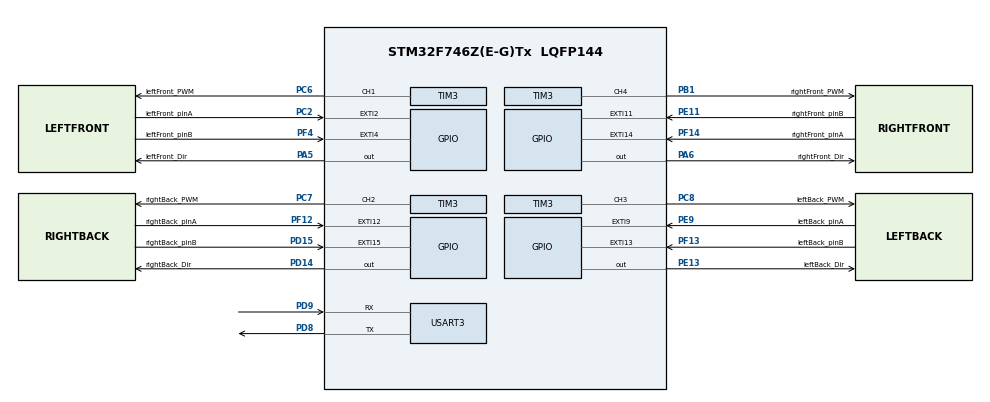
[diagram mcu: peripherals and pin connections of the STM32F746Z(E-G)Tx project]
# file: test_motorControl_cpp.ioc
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Mcu.Family=STM32F7
Mcu.Name=STM32F746Z(E-G)Tx
Mcu.Package=LQFP144
NVIC.EXTI15_10_IRQn=true\:0\:0\:false\:false\:true
NVIC.EXTI2_IRQn=true\:0\:0\:false\:false\:true
NVIC.EXTI4_IRQn=true\:0\:0\:false\:false\:true
NVIC.EXTI9_5_IRQn=true\:0\:0\:false\:false\:true
NVIC.PriorityGroup=NVIC_PRIORITYGROUP_4
PA5.GPIO_Label=leftFront_Dir
PA5.GPIO_Speed=GPIO_SPEED_FREQ_VERY_HIGH
PA5.Signal=GPIO_Output
PA6.GPIO_Label=rightFront_Dir
PA6.GPIO_Speed=GPIO_SPEED_FREQ_VERY_HIGH
PA6.Signal=GPIO_Output
PB1.GPIO_Label=rightFront_PWM
PB1.GPIO_Speed=GPIO_SPEED_FREQ_VERY_HIGH
PB1.Signal=S_TIM3_CH4
PC2.GPIO_Label=leftFront_pinA
PC2.GPIO_ModeDefaultEXTI=GPIO_MODE_IT_RISING
PC2.Signal=GPXTI2
PC6.GPIO_Label=leftFront_PWM
PC6.GPIO_Speed=GPIO_SPEED_FREQ_VERY_HIGH
PC6.Signal=S_TIM3_CH1
PC7.GPIO_Label=rightBack_PWM
PC7.GPIO_Speed=GPIO_SPEED_FREQ_VERY_HIGH
PC7.Signal=S_TIM3_CH2
PC8.GPIO_Label=leftBack_PWM
PC8.GPIO_Speed=GPIO_SPEED_FREQ_VERY_HIGH
PC8.Signal=S_TIM3_CH3
PD14.GPIO_Label=rightBack_Dir
PD14.GPIO_Speed=GPIO_SPEED_FREQ_VERY_HIGH
PD14.Signal=GPIO_Output
PD15.GPIO_Label=rightBack_pinB
PD15.Signal=GPXTI15
PD8.Mode=Asynchronous
PD8.Signal=USART3_TX
PD9.Mode=Asynchronous
PD9.Signal=USART3_RX
PE11.GPIO_Label=rightFront_pinB
PE11.Signal=GPXTI11
PE13.GPIO_Label=leftBack_Dir
PE13.GPIO_Speed=GPIO_SPEED_FREQ_VERY_HIGH
PE13.Signal=GPIO_Output
PE9.GPIO_Label=leftBack_pinA
PE9.Signal=GPXTI9
PF12.GPIO_Label=rightBack_pinA
PF12.Signal=GPXTI12
PF13.GPIO_Label=leftBack_pinB
PF13.Signal=GPXTI13
PF14.GPIO_Label=rightFront_pinA
PF14.Signal=GPXTI14
PF4.GPIO_Label=leftFront_pinB
PF4.Signal=GPXTI4
PH0/OSC_IN.Mode=HSE-External-Oscillator
PH0/OSC_IN.Signal=RCC_OSC_IN
PH1/OSC_OUT.Mode=HSE-External-Oscillator
PH1/OSC_OUT.Signal=RCC_OSC_OUT
ProjectManager.HeapSize=0x200
ProjectManager.StackSize=0x400
ProjectManager.TargetToolchain=SW4STM32
RCC.AHBFreq_Value=16000000
RCC.APB1Freq_Value=16000000
RCC.APB1TimFreq_Value=16000000
RCC.APB2Freq_Value=16000000
RCC.APB2TimFreq_Value=16000000
RCC.CortexFreq_Value=16000000
RCC.HCLKFreq_Value=16000000
RCC.HSE_VALUE=25000000
RCC.HSI_VALUE=16000000
RCC.LSE_VALUE=32768
RCC.USBFreq_Value=96000000
RCC.VCOOutputFreq_Value=192000000
SH.S_TIM3_CH1.0=TIM3_CH1,PWM Generation1 CH1
SH.S_TIM3_CH2.0=TIM3_CH2,PWM Generation2 CH2
SH.S_TIM3_CH3.0=TIM3_CH3,PWM Generation3 CH3
SH.S_TIM3_CH4.0=TIM3_CH4,PWM Generation4 CH4
TIM3.Channel-PWM\ Generation1\ CH1=TIM_CHANNEL_1
TIM3.Channel-PWM\ Generation2\ CH2=TIM_CHANNEL_2
TIM3.Channel-PWM\ Generation3\ CH3=TIM_CHANNEL_3
TIM3.Channel-PWM\ Generation4\ CH4=TIM_CHANNEL_4
TIM3.Period=255
TIM3.Prescaler=2160
TIM3.Pulse-PWM\ Generation1\ CH1=0
TIM3.Pulse-PWM\ Generation2\ CH2=0
USART3.VirtualMode-Asynchronous=VM_ASYNC
USART3.WordLength=WORDLENGTH_8B
VP_TIM3_VS_ClockSourceINT.Mode=Internal
board=test_motorControl_cpp

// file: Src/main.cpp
/**
  ******************************************************************************
  * File Name          : main.c
  * Description        : Main program body
  ******************************************************************************
  ** This notice applies to any and all portions of this file
  * that are not between comment pairs USER CODE BEGIN and
  * USER CODE END. Other portions of this file, whether
  * inserted by the user or by software development tools
  * are owned by their respective copyright owners.
  *
  * COPYRIGHT(c) 2017 STMicroelectronics
  *
  * Redistribution and use in source and binary forms, with or without modification,
  * are permitted provided that the following conditions are met:
  *   1. Redistributions of source code must retain the above copyright notice,
  *      this list of conditions and the following disclaimer.
  *   2. Redistributions in binary form must reproduce the above copyright notice,
  *      this list of conditions and the following disclaimer in the documentation
  *      and/or other materials provided with the distribution.
  *   3. Neither the name of STMicroelectronics nor the names of its contributors
  *      may be used to endorse or promote products derived from this software
  *      without specific prior written permission.
  *
  * THIS SOFTWARE IS PROVIDED BY THE COPYRIGHT HOLDERS AND CONTRIBUTORS "AS IS"
  * AND ANY EXPRESS OR IMPLIED WARRANTIES, INCLUDING, BUT NOT LIMITED TO, THE
  * IMPLIED WARRANTIES OF MERCHANTABILITY AND FITNESS FOR A PARTICULAR PURPOSE ARE
  * DISCLAIMED. IN NO EVENT SHALL THE COPYRIGHT HOLDER OR CONTRIBUTORS BE LIABLE
  * FOR ANY DIRECT, INDIRECT, INCIDENTAL, SPECIAL, EXEMPLARY, OR CONSEQUENTIAL
  * DAMAGES (INCLUDING, BUT NOT LIMITED TO, PROCUREMENT OF SUBSTITUTE GOODS OR
  * SERVICES; LOSS OF USE, DATA, OR PROFITS; OR BUSINESS INTERRUPTION) HOWEVER
  * CAUSED AND ON ANY THEORY OF LIABILITY, WHETHER IN CONTRACT, STRICT LIABILITY,
  * OR TORT (INCLUDING NEGLIGENCE OR OTHERWISE) ARISING IN ANY WAY OUT OF THE USE
  * OF THIS SOFTWARE, EVEN IF ADVISED OF THE POSSIBILITY OF SUCH DAMAGE.
  *
  ******************************************************************************
  */
#include "main.h"
#include "stm32f7xx_hal.h"

/* USER CODE BEGIN Includes */
#include <stdio.h>
#include <string.h>
#include "Math.h"
#include "WheelSide.h"
#include "Robot.h"
/* USER CODE END Includes */

TIM_HandleTypeDef htim3;

UART_HandleTypeDef huart3;

/* USER CODE BEGIN PV */
/* Private variables ---------------------------------------------------------*/
extern "C"{
/* USER CODE END PV */

void SystemClock_Config(void);
static void MX_GPIO_Init(void);
static void MX_TIM3_Init(void);
static void MX_USART3_UART_Init(void);

void HAL_TIM_MspPostInit(TIM_HandleTypeDef *htim);

/* USER CODE BEGIN PFP */

}
/* Private function prototypes -----------------------------------------------*/

/* USER CODE END PFP */

/* USER CODE BEGIN 0 */
int pulseLeftFront, pulseLeftBack, pulseRightFront, pulseRightBack = 0;

bool posReached = 0;;
float linearPosition = 0;
float angularPosition = 0;
float linearSpeed = 0;
float angularSpeed = 0;
float errorDistance = 0;
float errorAngle = 0;
float errorLinearSpeed = 0;
float errorAngularSpeed = 0;
float rightSpeed = 0;
float leftSpeed = 0;
uint32_t rightPulse = 0;
uint32_t leftPulse = 0;
float leftCommand = 0;
float rightCommand = 0;
float commandLinear = 0;
float commandAngular = 0;
float speedLinearDesired = 0;
float speedAngularDesired = 0;
float speedLinearDesiredAf = 0;
float speedAngularDesiredAf = 0;

float accLimit = 30;
float speedLimit = 1000;

float distanceDes = 3000;
float angleDes = 0;
float orientationDes = angleDes  * 663*270/360/95;

PID linearPositionPID(4,0.000,6);
PID angularPositionPID(3,0,0);
PID linearSpeedPID(0.7,0,0);
PID angularSpeedPID(0.3,0,0);

Wheel leftFrontWheel(leftFront_PWM_GPIO_Port, leftFront_PWM_Pin, leftFront_Dir_GPIO_Port, leftFront_Dir_Pin,
	  		leftFront_pinA_GPIO_Port, leftFront_pinA_Pin, leftFront_pinB_GPIO_Port, leftFront_pinB_Pin, &htim3, TIM_CHANNEL_1);
Wheel leftBackWheel(leftBack_PWM_GPIO_Port, leftBack_PWM_Pin, leftBack_Dir_GPIO_Port, leftBack_Dir_Pin,
	  		leftBack_pinA_GPIO_Port, leftBack_pinA_Pin, leftBack_pinB_GPIO_Port, leftBack_pinB_Pin, &htim3, TIM_CHANNEL_3);
Wheel rightFrontWheel(rightFront_PWM_GPIO_Port, rightFront_PWM_Pin, rightFront_Dir_GPIO_Port, rightFront_Dir_Pin,
	  		rightFront_pinA_GPIO_Port, rightFront_pinA_Pin, rightFront_pinB_GPIO_Port, rightFront_pinB_Pin, &htim3, TIM_CHANNEL_4);
Wheel rightBackWheel(rightBack_PWM_GPIO_Port, rightBack_PWM_Pin, rightBack_Dir_GPIO_Port, rightBack_Dir_Pin,
	  		rightBack_pinA_GPIO_Port, rightBack_pinA_Pin, rightBack_pinB_GPIO_Port, rightBack_pinB_Pin, &htim3, TIM_CHANNEL_2);

WheelSide leftWheel(leftFrontWheel, leftBackWheel);
WheelSide rightWheel(rightFrontWheel, rightBackWheel);

Robot robot(leftWheel, rightWheel);

void HAL_GPIO_EXTI_Callback(uint16_t GPIO_Pin){

	if(GPIO_Pin==leftFront_pinA_Pin)
	{
		leftFrontWheel.countPulse();
	}
	if(GPIO_Pin==rightFront_pinA_Pin)
	{
		rightFrontWheel.countPulse();
	}
	if(GPIO_Pin==leftBack_pinA_Pin)
	{
		leftBackWheel.countPulse();
	}
	if(GPIO_Pin==rightBack_pinA_Pin)
	{
		rightBackWheel.countPulse();
	}
}

float limitSpeed(float command, float speedMeas)
{
    float acc = command - speedMeas;
    if (acc > accLimit)
    {
      command = speedMeas + accLimit;
    }
    if (acc < -accLimit)
    {
      command = speedMeas - accLimit;
    }
    if (command > speedLimit)
    {
      command = speedLimit;
    }
    if (command < -speedLimit)
    {
      command = -speedLimit;
    }
    return command;
}

PID leftPID(0.5,0,0);
PID rightPID(0.5,0,0);
float leftSpeedMeas = 0;
float rightSpeedMeas = 0;
float speedDes = 200;
uint32_t time = 0.01;

bool sol = 1;

/* USER CODE END 0 */

int main(void)
{

  /* MCU Configuration----------------------------------------------------------*/

  /* Reset of all peripherals, Initializes the Flash interface and the Systick. */
  HAL_Init();

  /* Configure the system clock */
  SystemClock_Config();

  /* Initialize all configured peripherals */
  MX_GPIO_Init();
  MX_TIM3_Init();
  MX_USART3_UART_Init();

  /* USER CODE BEGIN 2 */
  //Timer start
  HAL_TIM_Base_Start(&htim3);
  //PWM start
  HAL_TIM_PWM_Start(&htim3, TIM_CHANNEL_1);	 //leftFront
  HAL_TIM_PWM_Start(&htim3, TIM_CHANNEL_2);  //rightBack
  HAL_TIM_PWM_Start(&htim3, TIM_CHANNEL_3); //leftBack
  HAL_TIM_PWM_Start(&htim3, TIM_CHANNEL_4);  //rightFront

  /* USER CODE END 2 */

  /* Infinite loop */
  while (1)
  {

  /* USER CODE BEGIN 3 */
	uint8_t buffer[50];

	time = HAL_GetTick();

	/*leftFrontWheel.run(30);
	rightFrontWheel.run(30);
	leftBackWheel.run(30);
	rightBackWheel.run(30);*/

	/*leftWheel.run(22);
	rightWheel.run(22);*/

	/*leftWheel.run(leftPID.computePID(speedDes - leftWheel.getSpeedMeas()));
	rightWheel.run(rightPID.computePID(speedDes - rightWheel.getSpeedMeas()));*/

	if(posReached ==0)
	{
		if(sol ==0)
		{
			leftPulse = leftWheel.getPulse();
			rightPulse = rightWheel.getPulse();
			leftSpeed = leftWheel.getSpeedMeas();
			rightSpeed = rightWheel.getSpeedMeas();

			linearPosition = (rightPulse + leftPulse)/2;
			angularPosition = rightPulse - leftPulse;

			errorDistance = distanceDes - linearPosition;
			errorAngle = orientationDes - angularPosition;

			if(errorDistance < 10) //orientation correction, position is reached
			{
				errorDistance = 0;
				linearPositionPID.resetPID();

				if(fabs(errorAngle) < 5)
				{
					printf("angle reached\t");
					errorAngle = 0;
					angularPositionPID.resetPID();
					posReached = 1;
				}
			}

			speedLinearDesired = linearPositionPID.computePID(errorDistance);
			speedAngularDesired = angularPositionPID.computePID(errorAngle);

			linearSpeed = (rightSpeed + leftSpeed)/2;
			angularSpeed = rightSpeed - leftSpeed;

			if(linearPositionPID.isComputed() && angularPositionPID.isComputed())
			{
				linearPositionPID.isComputed_ = false;
				angularPositionPID.isComputed_ = false;

				speedLinearDesiredAf = limitSpeed(speedLinearDesired, linearSpeed);
				speedAngularDesiredAf = limitSpeed(speedAngularDesired, angularSpeed);

				errorLinearSpeed = speedLinearDesiredAf - linearSpeed;
				errorAngularSpeed = speedAngularDesiredAf - angularSpeed;

				commandLinear = linearSpeedPID.computePID(errorLinearSpeed);
				commandAngular = angularSpeedPID.computePID(errorAngularSpeed);

				if(linearSpeedPID.isComputed() && angularSpeedPID.isComputed())
				{
					linearSpeedPID.isComputed_ = false;
					angularSpeedPID.isComputed_ = false;

					rightCommand = commandLinear + commandAngular;
					leftCommand = commandLinear - commandAngular;

					rightWheel.run(rightCommand);
					leftWheel.run(leftCommand);
				}
			}
		}
		else if(sol==1)
		{
			robot.regulateMotion(distanceDes, orientationDes);
			sprintf((char *)buffer, "%i\n\r", (int)robot.getLinearPosition());
		}
		HAL_UART_Transmit(&huart3, buffer, strlen((char *)buffer), 0xFFFFF);
	}
	else
	{
		leftWheel.stop();
		rightWheel.stop();
		break;
	}

	//sprintf((char *)buffer, "%i\n\r", rightFrontWheel.getPulse());

	//sprintf((char *)buffer, "%i %i %i %i \n\r", leftFrontWheel.getPulse(), rightFrontWheel.getPulse(), leftBackWheel.getPulse(), rightBackWheel.getPulse());
	//sprintf((char *)buffer, "%i %i %i %i \n\r", (int)leftFrontWheel.getSpeedMeas(), (int)rightFrontWheel.getSpeedMeas(), (int)leftBackWheel.getSpeedMeas(), (int)rightBackWheel.getSpeedMeas());

	//sprintf((char *)buffer, "%i \t %i \n\r", (int)leftWheel.getPulse(), (int)rightWheel.getPulse());
	//sprintf((char *)buffer, "%i \t %i \n\r", (int)leftWheel.getSpeedMeas(), (int)rightWheel.getSpeedMeas());

	//sprintf((char *)buffer, "%i \t %i \t %i \t %i \n\r", (int)leftWheel.getPulse(), (int)rightWheel.getPulse(), (int)leftWheel.getSpeedMeas(), (int)rightWheel.getSpeedMeas());

  }
  /* USER CODE END 3 */

}

/** System Clock Configuration
*/
void SystemClock_Config(void)
{

  RCC_OscInitTypeDef RCC_OscInitStruct;
  RCC_ClkInitTypeDef RCC_ClkInitStruct;
  RCC_PeriphCLKInitTypeDef PeriphClkInitStruct;

    /**Configure the main internal regulator output voltage
    */
  __HAL_RCC_PWR_CLK_ENABLE();

  __HAL_PWR_VOLTAGESCALING_CONFIG(PWR_REGULATOR_VOLTAGE_SCALE3);

    /**Initializes the CPU, AHB and APB busses clocks
    */
  RCC_OscInitStruct.OscillatorType = RCC_OSCILLATORTYPE_HSI;
  RCC_OscInitStruct.HSIState = RCC_HSI_ON;
  RCC_OscInitStruct.HSICalibrationValue = 16;
  RCC_OscInitStruct.PLL.PLLState = RCC_PLL_NONE;
  if (HAL_RCC_OscConfig(&RCC_OscInitStruct) != HAL_OK)
  {
    _Error_Handler(__FILE__, __LINE__);
  }

    /**Initializes the CPU, AHB and APB busses clocks
    */
  RCC_ClkInitStruct.ClockType = RCC_CLOCKTYPE_HCLK|RCC_CLOCKTYPE_SYSCLK
                              |RCC_CLOCKTYPE_PCLK1|RCC_CLOCKTYPE_PCLK2;
  RCC_ClkInitStruct.SYSCLKSource = RCC_SYSCLKSOURCE_HSI;
  RCC_ClkInitStruct.AHBCLKDivider = RCC_SYSCLK_DIV1;
  RCC_ClkInitStruct.APB1CLKDivider = RCC_HCLK_DIV1;
  RCC_ClkInitStruct.APB2CLKDivider = RCC_HCLK_DIV1;

  if (HAL_RCC_ClockConfig(&RCC_ClkInitStruct, FLASH_LATENCY_0) != HAL_OK)
  {
    _Error_Handler(__FILE__, __LINE__);
  }

  PeriphClkInitStruct.PeriphClockSelection = RCC_PERIPHCLK_USART3;
  PeriphClkInitStruct.Usart3ClockSelection = RCC_USART3CLKSOURCE_PCLK1;
  if (HAL_RCCEx_PeriphCLKConfig(&PeriphClkInitStruct) != HAL_OK)
  {
    _Error_Handler(__FILE__, __LINE__);
  }

    /**Configure the Systick interrupt time
    */
  HAL_SYSTICK_Config(HAL_RCC_GetHCLKFreq()/1000);

    /**Configure the Systick
    */
  HAL_SYSTICK_CLKSourceConfig(SYSTICK_CLKSOURCE_HCLK);

  /* SysTick_IRQn interrupt configuration */
  HAL_NVIC_SetPriority(SysTick_IRQn, 0, 0);
}

/* TIM3 init function */
static void MX_TIM3_Init(void)
{

  TIM_ClockConfigTypeDef sClockSourceConfig;
  TIM_MasterConfigTypeDef sMasterConfig;
  TIM_OC_InitTypeDef sConfigOC;

  htim3.Instance = TIM3;
  htim3.Init.Prescaler = 2160;
  htim3.Init.CounterMode = TIM_COUNTERMODE_UP;
  htim3.Init.Period = 255;
  htim3.Init.ClockDivision = TIM_CLOCKDIVISION_DIV1;
  htim3.Init.AutoReloadPreload = TIM_AUTORELOAD_PRELOAD_DISABLE;
  if (HAL_TIM_Base_Init(&htim3) != HAL_OK)
  {
    _Error_Handler(__FILE__, __LINE__);
  }

  sClockSourceConfig.ClockSource = TIM_CLOCKSOURCE_INTERNAL;
  if (HAL_TIM_ConfigClockSource(&htim3, &sClockSourceConfig) != HAL_OK)
  {
    _Error_Handler(__FILE__, __LINE__);
  }

  if (HAL_TIM_PWM_Init(&htim3) != HAL_OK)
  {
    _Error_Handler(__FILE__, __LINE__);
  }

  sMasterConfig.MasterOutputTrigger = TIM_TRGO_RESET;
  sMasterConfig.MasterSlaveMode = TIM_MASTERSLAVEMODE_DISABLE;
  if (HAL_TIMEx_MasterConfigSynchronization(&htim3, &sMasterConfig) != HAL_OK)
  {
    _Error_Handler(__FILE__, __LINE__);
  }

  sConfigOC.OCMode = TIM_OCMODE_PWM1;
  sConfigOC.Pulse = 0;
  sConfigOC.OCPolarity = TIM_OCPOLARITY_HIGH;
  sConfigOC.OCFastMode = TIM_OCFAST_DISABLE;
  if (HAL_TIM_PWM_ConfigChannel(&htim3, &sConfigOC, TIM_CHANNEL_1) != HAL_OK)
  {
    _Error_Handler(__FILE__, __LINE__);
  }

  if (HAL_TIM_PWM_ConfigChannel(&htim3, &sConfigOC, TIM_CHANNEL_2) != HAL_OK)
  {
    _Error_Handler(__FILE__, __LINE__);
  }

  if (HAL_TIM_PWM_ConfigChannel(&htim3, &sConfigOC, TIM_CHANNEL_3) != HAL_OK)
  {
    _Error_Handler(__FILE__, __LINE__);
  }

  if (HAL_TIM_PWM_ConfigChannel(&htim3, &sConfigOC, TIM_CHANNEL_4) != HAL_OK)
  {
    _Error_Handler(__FILE__, __LINE__);
  }

  HAL_TIM_MspPostInit(&htim3);

}

/* USART3 init function */
static void MX_USART3_UART_Init(void)
{

  huart3.Instance = USART3;
  huart3.Init.BaudRate = 115200;
  huart3.Init.WordLength = UART_WORDLENGTH_8B;
  huart3.Init.StopBits = UART_STOPBITS_1;
  huart3.Init.Parity = UART_PARITY_NONE;
  huart3.Init.Mode = UART_MODE_TX_RX;
  huart3.Init.HwFlowCtl = UART_HWCONTROL_NONE;
  huart3.Init.OverSampling = UART_OVERSAMPLING_16;
  huart3.Init.OneBitSampling = UART_ONE_BIT_SAMPLE_DISABLE;
  huart3.AdvancedInit.AdvFeatureInit = UART_ADVFEATURE_NO_INIT;
  if (HAL_UART_Init(&huart3) != HAL_OK)
  {
    _Error_Handler(__FILE__, __LINE__);
  }

}

/** Configure pins as
        * Analog
        * Input
        * Output
        * EVENT_OUT
        * EXTI
*/
static void MX_GPIO_Init(void)
{

  GPIO_InitTypeDef GPIO_InitStruct;

  /* GPIO Ports Clock Enable */
  __HAL_RCC_GPIOF_CLK_ENABLE();
  __HAL_RCC_GPIOH_CLK_ENABLE();
  __HAL_RCC_GPIOC_CLK_ENABLE();
  __HAL_RCC_GPIOA_CLK_ENABLE();
  __HAL_RCC_GPIOB_CLK_ENABLE();
  __HAL_RCC_GPIOE_CLK_ENABLE();
  __HAL_RCC_GPIOD_CLK_ENABLE();

  /*Configure GPIO pin Output Level */
  HAL_GPIO_WritePin(GPIOA, leftFront_Dir_Pin|rightFront_Dir_Pin, GPIO_PIN_RESET);

  /*Configure GPIO pin Output Level */
  HAL_GPIO_WritePin(leftBack_Dir_GPIO_Port, leftBack_Dir_Pin, GPIO_PIN_RESET);

  /*Configure GPIO pin Output Level */
  HAL_GPIO_WritePin(rightBack_Dir_GPIO_Port, rightBack_Dir_Pin, GPIO_PIN_RESET);

  /*Configure GPIO pins : leftFront_pinB_Pin rightBack_pinA_Pin leftBack_pinB_Pin rightFront_pinA_Pin */
  GPIO_InitStruct.Pin = leftFront_pinB_Pin|rightBack_pinA_Pin|leftBack_pinB_Pin|rightFront_pinA_Pin;
  GPIO_InitStruct.Mode = GPIO_MODE_IT_RISING;
  GPIO_InitStruct.Pull = GPIO_NOPULL;
  HAL_GPIO_Init(GPIOF, &GPIO_InitStruct);

  /*Configure GPIO pin : leftFront_pinA_Pin */
  GPIO_InitStruct.Pin = leftFront_pinA_Pin;
  GPIO_InitStruct.Mode = GPIO_MODE_IT_RISING;
  GPIO_InitStruct.Pull = GPIO_NOPULL;
  HAL_GPIO_Init(leftFront_pinA_GPIO_Port, &GPIO_InitStruct);

  /*Configure GPIO pins : leftFront_Dir_Pin rightFront_Dir_Pin */
  GPIO_InitStruct.Pin = leftFront_Dir_Pin|rightFront_Dir_Pin;
  GPIO_InitStruct.Mode = GPIO_MODE_OUTPUT_PP;
  GPIO_InitStruct.Pull = GPIO_NOPULL;
  GPIO_InitStruct.Speed = GPIO_SPEED_FREQ_VERY_HIGH;
  HAL_GPIO_Init(GPIOA, &GPIO_InitStruct);

  /*Configure GPIO pins : leftBack_pinA_Pin rightFront_pinB_Pin */
  GPIO_InitStruct.Pin = leftBack_pinA_Pin|rightFront_pinB_Pin;
  GPIO_InitStruct.Mode = GPIO_MODE_IT_RISING;
  GPIO_InitStruct.Pull = GPIO_NOPULL;
  HAL_GPIO_Init(GPIOE, &GPIO_InitStruct);

  /*Configure GPIO pin : leftBack_Dir_Pin */
  GPIO_InitStruct.Pin = leftBack_Dir_Pin;
  GPIO_InitStruct.Mode = GPIO_MODE_OUTPUT_PP;
  GPIO_InitStruct.Pull = GPIO_NOPULL;
  GPIO_InitStruct.Speed = GPIO_SPEED_FREQ_VERY_HIGH;
  HAL_GPIO_Init(leftBack_Dir_GPIO_Port, &GPIO_InitStruct);

  /*Configure GPIO pin : rightBack_Dir_Pin */
  GPIO_InitStruct.Pin = rightBack_Dir_Pin;
  GPIO_InitStruct.Mode = GPIO_MODE_OUTPUT_PP;
  GPIO_InitStruct.Pull = GPIO_NOPULL;
  GPIO_InitStruct.Speed = GPIO_SPEED_FREQ_VERY_HIGH;
  HAL_GPIO_Init(rightBack_Dir_GPIO_Port, &GPIO_InitStruct);

  /*Configure GPIO pin : rightBack_pinB_Pin */
  GPIO_InitStruct.Pin = rightBack_pinB_Pin;
  GPIO_InitStruct.Mode = GPIO_MODE_IT_RISING;
  GPIO_InitStruct.Pull = GPIO_NOPULL;
  HAL_GPIO_Init(rightBack_pinB_GPIO_Port, &GPIO_InitStruct);

  /* EXTI interrupt init*/
  HAL_NVIC_SetPriority(EXTI2_IRQn, 0, 0);
  HAL_NVIC_EnableIRQ(EXTI2_IRQn);

  HAL_NVIC_SetPriority(EXTI4_IRQn, 0, 0);
  HAL_NVIC_EnableIRQ(EXTI4_IRQn);

  HAL_NVIC_SetPriority(EXTI9_5_IRQn, 0, 0);
  HAL_NVIC_EnableIRQ(EXTI9_5_IRQn);

  HAL_NVIC_SetPriority(EXTI15_10_IRQn, 0, 0);
  HAL_NVIC_EnableIRQ(EXTI15_10_IRQn);

}

void _Error_Handler(char * file, int line)
{
  while(1)
  {
  }
}

/************************ (C) COPYRIGHT STMicroelectronics *****END OF FILE****/
